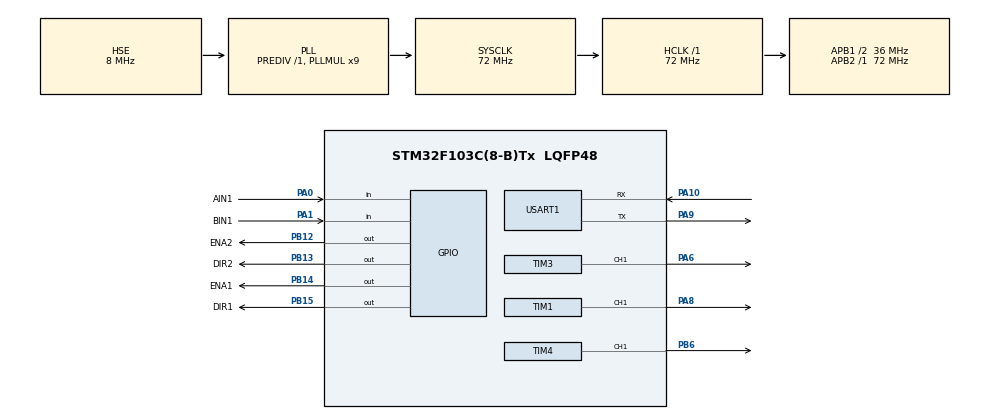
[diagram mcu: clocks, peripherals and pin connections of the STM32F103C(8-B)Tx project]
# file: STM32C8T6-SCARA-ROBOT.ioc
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Dma.Request0=USART1_RX
Dma.Request1=USART1_TX
Dma.USART1_RX.0.Direction=DMA_PERIPH_TO_MEMORY
Dma.USART1_RX.0.Instance=DMA1_Channel5
Dma.USART1_RX.0.MemDataAlignment=DMA_MDATAALIGN_BYTE
Dma.USART1_RX.0.MemInc=DMA_MINC_ENABLE
Dma.USART1_RX.0.Mode=DMA_NORMAL
Dma.USART1_RX.0.PeriphDataAlignment=DMA_PDATAALIGN_BYTE
Dma.USART1_RX.0.PeriphInc=DMA_PINC_DISABLE
Dma.USART1_RX.0.Priority=DMA_PRIORITY_LOW
Dma.USART1_TX.1.Direction=DMA_MEMORY_TO_PERIPH
Dma.USART1_TX.1.Instance=DMA1_Channel4
Dma.USART1_TX.1.MemDataAlignment=DMA_MDATAALIGN_BYTE
Dma.USART1_TX.1.MemInc=DMA_MINC_ENABLE
Dma.USART1_TX.1.Mode=DMA_NORMAL
Dma.USART1_TX.1.PeriphDataAlignment=DMA_PDATAALIGN_BYTE
Dma.USART1_TX.1.PeriphInc=DMA_PINC_DISABLE
Dma.USART1_TX.1.Priority=DMA_PRIORITY_LOW
Mcu.Family=STM32F1
Mcu.Name=STM32F103C(8-B)Tx
Mcu.Package=LQFP48
NVIC.DMA1_Channel4_IRQn=true\:0\:0\:false\:false\:true\:false\:true\:true
NVIC.DMA1_Channel5_IRQn=true\:0\:0\:false\:false\:true\:false\:true\:true
NVIC.PriorityGroup=NVIC_PRIORITYGROUP_4
NVIC.TIM1_UP_IRQn=true\:1\:0\:true\:false\:true\:true\:true\:true
NVIC.TIM3_IRQn=true\:1\:0\:true\:false\:true\:true\:true\:true
NVIC.USART1_IRQn=true\:2\:0\:true\:false\:true\:true\:true\:true
PA0-WKUP.GPIO_Label=AIN1
PA0-WKUP.Signal=GPIO_Input
PA1.GPIO_Label=BIN1
PA1.Signal=GPIO_Input
PA10.Mode=Asynchronous
PA10.Signal=USART1_RX
PA13.Mode=Serial_Wire
PA13.Signal=SYS_JTMS-SWDIO
PA14.Mode=Serial_Wire
PA14.Signal=SYS_JTCK-SWCLK
PA6.Signal=S_TIM3_CH1
PA8.Signal=S_TIM1_CH1
PA9.Mode=Asynchronous
PA9.Signal=USART1_TX
PB12.GPIO_Label=ENA2
PB12.Signal=GPIO_Output
PB13.GPIO_Label=DIR2
PB13.Signal=GPIO_Output
PB14.GPIO_Label=ENA1
PB14.Signal=GPIO_Output
PB15.GPIO_Label=DIR1
PB15.Signal=GPIO_Output
PB6.Signal=S_TIM4_CH1
PD0-OSC_IN.Mode=HSE-External-Oscillator
PD0-OSC_IN.Signal=RCC_OSC_IN
PD1-OSC_OUT.Mode=HSE-External-Oscillator
PD1-OSC_OUT.Signal=RCC_OSC_OUT
ProjectManager.HeapSize=0x200
ProjectManager.StackSize=0x400
ProjectManager.TargetToolchain=CMake
RCC.AHBFreq_Value=72000000
RCC.APB1CLKDivider=RCC_HCLK_DIV2
RCC.APB1Freq_Value=36000000
RCC.APB1TimFreq_Value=72000000
RCC.APB2Freq_Value=72000000
RCC.APB2TimFreq_Value=72000000
RCC.HCLKFreq_Value=72000000
RCC.PLLMUL=RCC_PLL_MUL9
RCC.PLLSourceVirtual=RCC_PLLSOURCE_HSE
RCC.SYSCLKFreq_VALUE=72000000
RCC.SYSCLKSource=RCC_SYSCLKSOURCE_PLLCLK
RCC.USBFreq_Value=72000000
SH.S_TIM1_CH1.0=TIM1_CH1,PWM Generation1 CH1
SH.S_TIM3_CH1.0=TIM3_CH1,PWM Generation1 CH1
SH.S_TIM4_CH1.0=TIM4_CH1,PWM Generation1 CH1
TIM1.Channel-PWM\ Generation1\ CH1=TIM_CHANNEL_1
TIM3.Channel-PWM\ Generation1\ CH1=TIM_CHANNEL_1
TIM4.Channel-PWM\ Generation1\ CH1=TIM_CHANNEL_1
USART1.VirtualMode=VM_ASYNC
VP_TIM1_VS_ClockSourceINT.Mode=Internal
VP_TIM3_VS_ClockSourceINT.Mode=Internal
VP_TIM4_VS_ClockSourceINT.Mode=Internal
board=custom

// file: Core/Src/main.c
/* USER CODE BEGIN Header */
/**
  ******************************************************************************
  * @file           : main.c
  * @brief          : Main program body
  ******************************************************************************
  * @attention
  *
  * Copyright (c) 2026 STMicroelectronics.
  * All rights reserved.
  *
  * This software is licensed under terms that can be found in the LICENSE file
  * in the root directory of this software component.
  * If no LICENSE file comes with this software, it is provided AS-IS.
  *
  ******************************************************************************
  */
/* USER CODE END Header */
#include "main.h"
#include "dma.h"
#include "tim.h"
#include "usart.h"
#include "gpio.h"

/* USER CODE BEGIN Includes */
#include "scara.h"
/* USER CODE END Includes */

void SystemClock_Config(void);

int main(void)
{

  /* MCU Configuration--------------------------------------------------------*/

  /* Reset of all peripherals, Initializes the Flash interface and the Systick. */
  HAL_Init();

  /* Configure the system clock */
  SystemClock_Config();

  /* Initialize all configured peripherals */
  MX_GPIO_Init();
  MX_DMA_Init();
  MX_TIM1_Init();
  MX_TIM3_Init();
  MX_TIM4_Init();
  MX_USART1_UART_Init();
  /* USER CODE BEGIN 2 */
  SCARA_Init();
  /* USER CODE END 2 */

  /* Infinite loop */
  /* USER CODE BEGIN WHILE */
  while (1)
  {
    SCARA_ProcessSerial();

    /* 由中断设置的 RDY 待发送标志 → 主循环安全发送 */
    if (scara.rdy_pending)
    {
        scara.rdy_pending = 0;
        char buf[48];
        int n = snprintf(buf, sizeof(buf), "RDY %ld %ld %ld %ld\r\n",
            scara.motor1.current_position, scara.motor2.current_position,
            (int32_t)((int64_t)scara.motor1.current_position * 360 / STEPS_PER_JOINT_REV),
            (int32_t)((int64_t)scara.motor2.current_position * 360 / STEPS_PER_JOINT_REV));
        if (n > 0) {
            SCARA_SendResponse(buf);
        }
    }

    /* 回零状态机：2段式光电寻零 */
    if (scara.state == ROBOT_HOMING)
    {
        uint32_t home_m1_stopped = !scara.motor1.busy;
        uint32_t home_m2_stopped = !scara.motor2.busy;

        /* 阶段0: 负方向搜索传感器触发 */
        if (scara.home_approach_phase == 0)
        {
            if (HAL_GPIO_ReadPin(AIN1_GPIO_Port, AIN1_Pin) == GPIO_PIN_SET)
            {
                motor_stop(&scara.motor1);
                scara.home_m1_done = 1;
            }
            if (HAL_GPIO_ReadPin(BIN1_GPIO_Port, BIN1_Pin) == GPIO_PIN_SET)
            {
                motor_stop(&scara.motor2);
                scara.home_m2_done = 1;
            }
            if (scara.home_m1_done && scara.home_m2_done)
            {
                scara.home_approach_phase = 1;
                SCARA_SetPosition(DEG_TO_STEPS(90), DEG_TO_STEPS(90));
                /* 后退一段距离 */
                motor_start(&scara.motor1, HOME_BACKOFF_STEPS, HOME_SPEED);
                motor_start(&scara.motor2, HOME_BACKOFF_STEPS, HOME_SPEED);
                scara.home_m1_done = 0;
                scara.home_m2_done = 0;
            }
        }
        /* 阶段1: 后退完成，慢速逼近传感器 */
        else if (scara.home_approach_phase == 1)
        {
            if (home_m1_stopped && home_m2_stopped)
            {
                scara.home_approach_phase = 2;
                motor_start(&scara.motor1, -HOME_BACKOFF_STEPS, HOME_APPROACH_SPEED);
                motor_start(&scara.motor2, -HOME_BACKOFF_STEPS, HOME_APPROACH_SPEED);
            }
        }
        /* 阶段2: 慢速触发传感器 → 回零完成 */
        else if (scara.home_approach_phase == 2)
        {
            if (HAL_GPIO_ReadPin(AIN1_GPIO_Port, AIN1_Pin) == GPIO_PIN_SET)
            {
                motor_stop(&scara.motor1);
                scara.home_m1_done = 1;
            }
            if (HAL_GPIO_ReadPin(BIN1_GPIO_Port, BIN1_Pin) == GPIO_PIN_SET)
            {
                motor_stop(&scara.motor2);
                scara.home_m2_done = 1;
            }
            if (scara.home_m1_done && scara.home_m2_done)
            {
                SCARA_SetPosition(DEG_TO_STEPS(90), DEG_TO_STEPS(90));
                scara.state = ROBOT_IDLE;
                SCARA_SendResponse("RDY HOME DONE\r\n");
            }
        }

        /* 回零超时保护 */
        if (HAL_GetTick() - scara.home_start_ms > HOME_TIMEOUT_MS)
        {
            motor_stop(&scara.motor1);
            motor_stop(&scara.motor2);
            scara.state = ROBOT_ERROR;
            SCARA_SendResponse("ER HOME TIMEOUT\r\n");
        }
    }
    /* USER CODE END WHILE */

  }
}

void SystemClock_Config(void)
{
  RCC_OscInitTypeDef RCC_OscInitStruct = {0};
  RCC_ClkInitTypeDef RCC_ClkInitStruct = {0};

  /** Initializes the RCC Oscillators according to the specified parameters
  * in the RCC_OscInitTypeDef structure.
  */
  RCC_OscInitStruct.OscillatorType = RCC_OSCILLATORTYPE_HSE;
  RCC_OscInitStruct.HSEState = RCC_HSE_ON;
  RCC_OscInitStruct.HSEPredivValue = RCC_HSE_PREDIV_DIV1;
  RCC_OscInitStruct.HSIState = RCC_HSI_ON;
  RCC_OscInitStruct.PLL.PLLState = RCC_PLL_ON;
  RCC_OscInitStruct.PLL.PLLSource = RCC_PLLSOURCE_HSE;
  RCC_OscInitStruct.PLL.PLLMUL = RCC_PLL_MUL9;
  if (HAL_RCC_OscConfig(&RCC_OscInitStruct) != HAL_OK)
  {
    Error_Handler();
  }

  /** Initializes the CPU, AHB and APB buses clocks
  */
  RCC_ClkInitStruct.ClockType = RCC_CLOCKTYPE_HCLK|RCC_CLOCKTYPE_SYSCLK
                              |RCC_CLOCKTYPE_PCLK1|RCC_CLOCKTYPE_PCLK2;
  RCC_ClkInitStruct.SYSCLKSource = RCC_SYSCLKSOURCE_PLLCLK;
  RCC_ClkInitStruct.AHBCLKDivider = RCC_SYSCLK_DIV1;
  RCC_ClkInitStruct.APB1CLKDivider = RCC_HCLK_DIV2;
  RCC_ClkInitStruct.APB2CLKDivider = RCC_HCLK_DIV1;

  if (HAL_RCC_ClockConfig(&RCC_ClkInitStruct, FLASH_LATENCY_2) != HAL_OK)
  {
    Error_Handler();
  }
}

void Error_Handler(void)
{
  __disable_irq();
  while (1)
  {
  }
}
